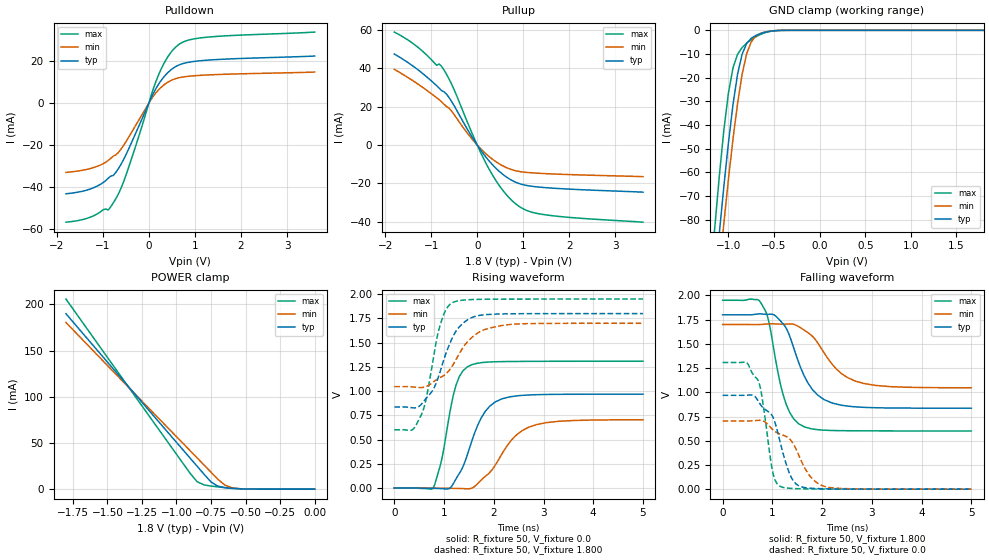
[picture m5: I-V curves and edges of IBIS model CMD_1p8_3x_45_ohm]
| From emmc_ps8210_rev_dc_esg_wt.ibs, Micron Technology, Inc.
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|   Model CMD_1p8_3x_45_ohm
[Model]   CMD_1p8_3x_45_ohm
Model_type   I/O
Vinl   = 0.68V
Vinh   = 1.11V
Vmeas  = 0.90V
|   typ   min   max
C_comp   6.990pF   6.500pF   7.430pF
[Voltage Range]   1.800V   1.700V   1.950V
| Junction Temperature (Ambient temp is 35C typ, 85C min, -25C max)
[Temperature Range]   50.0   100.0   -25.0
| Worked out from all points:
|   slope of the pulldown table from 0 to 0.27 V, typ, clamps not added: 24.9 ohm
|   slope of the pullup table from 0 to 0.27 V, typ, clamps not added: 31.3 ohm
|   GND clamp passes 1 mA (typ) near -0.62 V on its own axis
|   POWER clamp passes 1 mA (typ) near -0.61 V on its own axis
|   rising waveform, R_fixture 50, V_fixture 0.0: 20-80 % time 454ps typ, 616ps min, 295ps max; typ from 0 V to 0.968 V
|   falling waveform, R_fixture 50, V_fixture 1.800: 20-80 % time 478ps typ, 615ps min, 333ps max; typ from 1.8 V to 0.836 V
|   rising waveform, R_fixture 50, V_fixture 1.800: 20-80 % time 432ps typ, 562ps min, 304ps max; typ from 0.836 V to 1.8 V
|   falling waveform, R_fixture 50, V_fixture 0.0: 20-80 % time 347ps typ, 570ps min, 220ps max; typ from 0.968 V to 0 V
[Pulldown]
|   Voltage   I(typ)   I(min)   I(max)
-1.8V     -43.09mA   -32.94mA   -56.59mA
-1.26V    -40.73mA   -31.02mA   -54.11mA
-990mV    -37.72mA   -28.78mA   -50.65mA
-882mV    -35.7mA    -27.25mA   -50.8mA
-774mV    -34.4mA    -25.22mA   -47.5mA
-504mV    -24.84mA   -18.59mA   -34.68mA
198mV     8.516mA    5.998mA    12.74mA
414mV     14.53mA    9.954mA    22.06mA
630mV     17.88mA    11.91mA    27.51mA
846mV     19.33mA    12.7mA     29.84mA
1.278V    20.41mA    13.37mA    31.34mA
3.6V      22.35mA    14.73mA    33.73mA
[GND_clamp]
|   Voltage   I(typ)   I(min)   I(max)
-1.8V     -423.5mA   -425.5mA   -421.7mA
-1.15V    -106.9mA   -121.7mA   -83.42mA
-1.1V     -85.79mA   -101.1mA   -61.61mA
-1.05V    -65.86mA   -81.43mA   -42.03mA
-1V       -47.53mA   -62.91mA   -26.45mA
-950mV    -31.34mA   -45.93mA   -15.87mA
-900mV    -18.56mA   -30.95mA   -10.14mA
-850mV    -10.08mA   -18.57mA   -7.26mA
-800mV    -5.518mA   -9.883mA   -5.408mA
-700mV    -2.184mA   -2.431mA   -2.753mA
-450mV    -66.35uA   -50.69uA   -70.78uA
1.8V      83.71pA    4.239nA    14.85pA
[Pullup]
|   Voltage   I(typ)   I(min)   I(max)
-1.8V     47.45mA    39.5mA     58.88mA
-1.314V   39.73mA    32.2mA     51.46mA
-882mV    30.98mA    24.72mA    41.57mA
-774mV    28.36mA    22.54mA    41.08mA
-612mV    24.76mA    19.22mA    34.45mA
-126mV    4.734mA    3.53mA     6.96mA
252mV     -8.124mA   -5.896mA   -12.31mA
576mV     -15.68mA   -11.12mA   -24.26mA
846mV     -19.52mA   -13.49mA   -30.88mA
1.116V    -21.28mA   -14.38mA   -34.52mA
1.494V    -22.26mA   -14.95mA   -36.46mA
3.6V      -24.59mA   -16.51mA   -40.26mA
[POWER_clamp]
|   Voltage   I(typ)   I(min)   I(max)
-1.8V     189.8mA    180.3mA    205.7mA
-900mV    33.36mA    41.43mA    16.88mA
-850mV    24.71mA    33.74mA    7.997mA
-800mV    16.03mA    26.04mA    4.596mA
-750mV    7.762mA    18.34mA    3.354mA
-700mV    3.218mA    10.64mA    2.457mA
-650mV    1.558mA    4.403mA    1.681mA
-600mV    854.9uA    1.541mA    1.032mA
-500mV    194.5uA    191.2uA    217.2uA
0V        83.62pA    270.5pA    20.77pA
[Ramp]
|   typ   min   max
dV/dt_r   581.06m/453.99p   422.80m/616.79p   784.80m/294.60p
dV/dt_f   578.57m/476.86p   392.47m/615.73p   809.54m/332.45p
R_load = 50
[Rising Waveform]
R_fixture = 50
V_fixture = 0.0
|   Time   V(typ)   V(min)   V(max)
0s        7.998nV    22.15nV    3.066nV
790ps     -4.131mV   -1.893mV   7.277mV
950ps     -7.078mV   -2.441mV   285.9mV
1.24ns    92.81mV    -4.74mV    1.058V
1.47ns    344.6mV    -8.519mV   1.251V
1.75ns    725.3mV    83.29mV    1.293V
2.16ns    919.3mV    347.7mV    1.304V
2.47ns    950.8mV    553.1mV    1.306V
2.86ns    962.7mV    654.3mV    1.307V
5ns       968mV      704.1mV    1.308V
[Falling Waveform]
R_fixture   = 50
V_fixture   = 1.800
V_fixture_min = 1.700
V_fixture_max = 1.950
|   Time   V(typ)   V(min)   V(max)
0s        1.8V       1.7V       1.95V
770ps     1.81V      1.7V       1.922V
920ps     1.805V     1.706V     1.749V
1.15ns    1.744V     1.704V     1.113V
1.28ns    1.659V     1.704V     872.4mV
1.43ns    1.457V     1.702V     724.8mV
1.64ns    1.169V     1.642V     644.2mV
2.04ns    924.8mV    1.408V     609.1mV
2.66ns    850.3mV    1.117V     602.9mV
5ns       836mV      1.046V     600.9mV
[Rising Waveform]
R_fixture   = 50
V_fixture   = 1.800
V_fixture_min = 1.700
V_fixture_max = 1.950
|   Time   V(typ)   V(min)   V(max)
0s        835.7mV    1.046V     600.8mV
360ps     827.6mV    1.043V     600.5mV
540ps     862.1mV    1.036V     750.7mV
640ps     924.4mV    1.046V     919.8mV
910ps     1.182V     1.136V     1.659V
1.04ns    1.391V     1.179V     1.841V
1.18ns    1.563V     1.271V     1.915V
1.54ns    1.755V     1.544V     1.944V
2.05ns    1.795V     1.666V     1.949V
5ns       1.8V       1.7V       1.95V
[Falling Waveform]
R_fixture = 50
V_fixture = 0.0
|   Time   V(typ)   V(min)   V(max)
0s        968.4mV    704.7mV    1.308V
480ps     969.8mV    704.4mV    1.306V
710ps     914.5mV    710.4mV    1.126V
790ps     853.8mV    708.2mV    957.9mV
990ps     763.8mV    623.6mV    220.9mV
1.14ns    520.3mV    571.3mV    33.66mV
1.38ns    121.8mV    499.1mV    7.881mV
1.61ns    20.41mV    260.6mV    3.56mV
2.14ns    3.307mV    17.91mV    711.3uV
5ns       41uV       58.07uV    33.02uV
